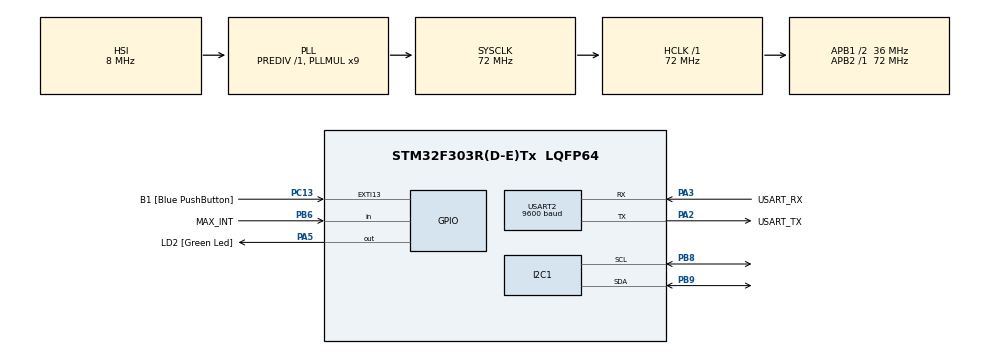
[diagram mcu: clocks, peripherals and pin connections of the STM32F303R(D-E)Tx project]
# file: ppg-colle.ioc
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Mcu.Family=STM32F3
Mcu.Name=STM32F303R(D-E)Tx
Mcu.Package=LQFP64
NVIC.PriorityGroup=NVIC_PRIORITYGROUP_0
PA13.GPIO_Label=TMS
PA13.Mode=Serial_Wire
PA13.Signal=SYS_JTMS-SWDIO
PA14.GPIO_Label=TCK
PA14.Mode=Serial_Wire
PA14.Signal=SYS_JTCK-SWCLK
PA2.GPIO_Label=USART_TX
PA2.GPIO_Mode=GPIO_MODE_AF_PP
PA2.GPIO_PuPd=GPIO_NOPULL
PA2.GPIO_Speed=GPIO_SPEED_FREQ_LOW
PA2.Mode=Asynchronous
PA2.Signal=USART2_TX
PA3.GPIO_Label=USART_RX
PA3.GPIO_Mode=GPIO_MODE_AF_PP
PA3.GPIO_PuPd=GPIO_NOPULL
PA3.GPIO_Speed=GPIO_SPEED_FREQ_LOW
PA3.Mode=Asynchronous
PA3.Signal=USART2_RX
PA5.GPIO_Label=LD2 [Green Led]
PA5.GPIO_Mode=GPIO_MODE_OUTPUT_PP
PA5.GPIO_PuPd=GPIO_NOPULL
PA5.GPIO_Speed=GPIO_SPEED_FREQ_LOW
PA5.Signal=GPIO_Output
PB3.GPIO_Label=SWO
PB3.Signal=SYS_JTDO-TRACESWO
PB6.GPIO_Label=MAX_INT
PB6.GPIO_PuPd=GPIO_PULLUP
PB6.Signal=GPIO_Input
PB8.Mode=I2C
PB8.Signal=I2C1_SCL
PB9.Mode=I2C
PB9.Signal=I2C1_SDA
PC13.GPIO_Label=B1 [Blue PushButton]
PC13.GPIO_ModeDefaultEXTI=GPIO_MODE_IT_FALLING
PC13.Signal=GPXTI13
PC14-OSC32_IN.Mode=LSE-External-Oscillator
PC14-OSC32_IN.Signal=RCC_OSC32_IN
PC15-OSC32_OUT.Mode=LSE-External-Oscillator
PC15-OSC32_OUT.Signal=RCC_OSC32_OUT
PF0-OSC_IN.Mode=HSE-External-Clock-Source
PF0-OSC_IN.Signal=RCC_OSC_IN
PF1-OSC_OUT.Signal=RCC_OSC_OUT
ProjectManager.HeapSize=0x200
ProjectManager.StackSize=0x400
ProjectManager.TargetToolchain=SW4STM32
RCC.AHBFreq_Value=72000000
RCC.APB1CLKDivider=RCC_HCLK_DIV2
RCC.APB1Freq_Value=36000000
RCC.APB1TimFreq_Value=72000000
RCC.APB2Freq_Value=72000000
RCC.APB2TimFreq_Value=72000000
RCC.CortexFreq_Value=72000000
RCC.HCLKFreq_Value=72000000
RCC.HSE_VALUE=8000000
RCC.HSI_VALUE=8000000
RCC.PLLM=8
RCC.PLLMUL=RCC_PLL_MUL9
RCC.PLLN=336
RCC.PLLP=RCC_PLLP_DIV4
RCC.PLLQ=7
RCC.RCC_PLLsource_Clock_Source_FROM_HSE=RCC_HSE_PREDIV_DIV2
RCC.SYSCLKFreq_VALUE=72000000
RCC.SYSCLKSourceVirtual=RCC_SYSCLKSOURCE_PLLCLK
RCC.USBFreq_Value=72000000
USART2.BaudRate=9600
USART2.VirtualMode-Asynchronous=VM_ASYNC
USART2.WordLength=WORDLENGTH_8B
board=NUCLEO-F303RE

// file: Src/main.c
/**
  ******************************************************************************
  * @file           : main.c
  * @brief          : Main program body
  ******************************************************************************
  ** This notice applies to any and all portions of this file
  * that are not between comment pairs USER CODE BEGIN and
  * USER CODE END. Other portions of this file, whether
  * inserted by the user or by software development tools
  * are owned by their respective copyright owners.
  *
  * COPYRIGHT(c) 2018 STMicroelectronics
  *
  * Redistribution and use in source and binary forms, with or without modification,
  * are permitted provided that the following conditions are met:
  *   1. Redistributions of source code must retain the above copyright notice,
  *      this list of conditions and the following disclaimer.
  *   2. Redistributions in binary form must reproduce the above copyright notice,
  *      this list of conditions and the following disclaimer in the documentation
  *      and/or other materials provided with the distribution.
  *   3. Neither the name of STMicroelectronics nor the names of its contributors
  *      may be used to endorse or promote products derived from this software
  *      without specific prior written permission.
  *
  * THIS SOFTWARE IS PROVIDED BY THE COPYRIGHT HOLDERS AND CONTRIBUTORS "AS IS"
  * AND ANY EXPRESS OR IMPLIED WARRANTIES, INCLUDING, BUT NOT LIMITED TO, THE
  * IMPLIED WARRANTIES OF MERCHANTABILITY AND FITNESS FOR A PARTICULAR PURPOSE ARE
  * DISCLAIMED. IN NO EVENT SHALL THE COPYRIGHT HOLDER OR CONTRIBUTORS BE LIABLE
  * FOR ANY DIRECT, INDIRECT, INCIDENTAL, SPECIAL, EXEMPLARY, OR CONSEQUENTIAL
  * DAMAGES (INCLUDING, BUT NOT LIMITED TO, PROCUREMENT OF SUBSTITUTE GOODS OR
  * SERVICES; LOSS OF USE, DATA, OR PROFITS; OR BUSINESS INTERRUPTION) HOWEVER
  * CAUSED AND ON ANY THEORY OF LIABILITY, WHETHER IN CONTRACT, STRICT LIABILITY,
  * OR TORT (INCLUDING NEGLIGENCE OR OTHERWISE) ARISING IN ANY WAY OUT OF THE USE
  * OF THIS SOFTWARE, EVEN IF ADVISED OF THE POSSIBILITY OF SUCH DAMAGE.
  *
  ******************************************************************************
  */
#include "main.h"
#include "stm32f3xx_hal.h"

/* USER CODE BEGIN Includes */
#include <stdio.h>
#include <string.h>
#include <stdarg.h>
#include <stdlib.h>

#include "max30102.h"
/* USER CODE END Includes */

I2C_HandleTypeDef hi2c1;

UART_HandleTypeDef huart2;

/* USER CODE BEGIN PV */
/* Private variables ---------------------------------------------------------*/
MAX30102* dev;
uint32_t red, ir;
/* USER CODE END PV */

void SystemClock_Config(void);
static void MX_GPIO_Init(void);
static void MX_USART2_UART_Init(void);
static void MX_I2C1_Init(void);

/* USER CODE BEGIN PFP */
/* Private function prototypes -----------------------------------------------*/

/* USER CODE END PFP */

/* USER CODE BEGIN 0 */
int print(const char* format, ...) {
	char* iobuf = malloc(sizeof(char) * 128);
	va_list args;
	va_start(args, format);
	int result = vsprintf(iobuf, format, args);
	va_end(args);
	HAL_UART_Transmit(&huart2, (uint8_t*) iobuf, strlen(iobuf), 100);
	free(iobuf);
	return result;
}
/* USER CODE END 0 */

int main(void)
{

  /* MCU Configuration----------------------------------------------------------*/

  /* Reset of all peripherals, Initializes the Flash interface and the Systick. */
  HAL_Init();

  /* Configure the system clock */
  SystemClock_Config();

  /* Initialize all configured peripherals */
  MX_GPIO_Init();
  MX_USART2_UART_Init();
  MX_I2C1_Init();
  /* USER CODE BEGIN 2 */
  dev = MAX30102Init(&hi2c1, MAX_30102_ADDR);
  dev->reset(dev->p);
  dev->clrint(dev->p);
  dev->init(dev->p);

  print("PPGColle v1.0 - Collector\n");

  while (HAL_GPIO_ReadPin(B1_GPIO_Port, B1_Pin) == GPIO_PIN_SET) {
	  while (HAL_GPIO_ReadPin(MAX_INT_GPIO_Port, MAX_INT_Pin) == GPIO_PIN_SET);
	  dev->fifo(dev->p, &red, &ir);
	  print("%d\n", 160000 - ir);
  }
  /* USER CODE END 2 */

  /* Infinite loop */
  /* USER CODE BEGIN WHILE */
  while (1)
  {
	  while (HAL_GPIO_ReadPin(MAX_INT_GPIO_Port, MAX_INT_Pin) == GPIO_PIN_SET);
	  dev->fifo(dev->p, &red, &ir);
	  print("%d, %d\n", red, ir);

	  HAL_GPIO_TogglePin(LD2_GPIO_Port, LD2_Pin);
  /* USER CODE END WHILE */

  }

}

void SystemClock_Config(void)
{

  RCC_OscInitTypeDef RCC_OscInitStruct;
  RCC_ClkInitTypeDef RCC_ClkInitStruct;
  RCC_PeriphCLKInitTypeDef PeriphClkInit;

    /**Initializes the CPU, AHB and APB busses clocks
    */
  RCC_OscInitStruct.OscillatorType = RCC_OSCILLATORTYPE_HSI;
  RCC_OscInitStruct.HSIState = RCC_HSI_ON;
  RCC_OscInitStruct.HSICalibrationValue = 16;
  RCC_OscInitStruct.PLL.PLLState = RCC_PLL_ON;
  RCC_OscInitStruct.PLL.PLLSource = RCC_PLLSOURCE_HSI;
  RCC_OscInitStruct.PLL.PLLMUL = RCC_PLL_MUL9;
  RCC_OscInitStruct.PLL.PREDIV = RCC_PREDIV_DIV1;
  if (HAL_RCC_OscConfig(&RCC_OscInitStruct) != HAL_OK)
  {
    _Error_Handler(__FILE__, __LINE__);
  }

    /**Initializes the CPU, AHB and APB busses clocks
    */
  RCC_ClkInitStruct.ClockType = RCC_CLOCKTYPE_HCLK|RCC_CLOCKTYPE_SYSCLK
                              |RCC_CLOCKTYPE_PCLK1|RCC_CLOCKTYPE_PCLK2;
  RCC_ClkInitStruct.SYSCLKSource = RCC_SYSCLKSOURCE_PLLCLK;
  RCC_ClkInitStruct.AHBCLKDivider = RCC_SYSCLK_DIV1;
  RCC_ClkInitStruct.APB1CLKDivider = RCC_HCLK_DIV2;
  RCC_ClkInitStruct.APB2CLKDivider = RCC_HCLK_DIV1;

  if (HAL_RCC_ClockConfig(&RCC_ClkInitStruct, FLASH_LATENCY_2) != HAL_OK)
  {
    _Error_Handler(__FILE__, __LINE__);
  }

  PeriphClkInit.PeriphClockSelection = RCC_PERIPHCLK_USART2|RCC_PERIPHCLK_I2C1;
  PeriphClkInit.Usart2ClockSelection = RCC_USART2CLKSOURCE_PCLK1;
  PeriphClkInit.I2c1ClockSelection = RCC_I2C1CLKSOURCE_HSI;
  if (HAL_RCCEx_PeriphCLKConfig(&PeriphClkInit) != HAL_OK)
  {
    _Error_Handler(__FILE__, __LINE__);
  }

    /**Configure the Systick interrupt time
    */
  HAL_SYSTICK_Config(HAL_RCC_GetHCLKFreq()/1000);

    /**Configure the Systick
    */
  HAL_SYSTICK_CLKSourceConfig(SYSTICK_CLKSOURCE_HCLK);

  /* SysTick_IRQn interrupt configuration */
  HAL_NVIC_SetPriority(SysTick_IRQn, 0, 0);
}

/* I2C1 init function */
static void MX_I2C1_Init(void)
{

  hi2c1.Instance = I2C1;
  hi2c1.Init.Timing = 0x2000090E;
  hi2c1.Init.OwnAddress1 = 0;
  hi2c1.Init.AddressingMode = I2C_ADDRESSINGMODE_7BIT;
  hi2c1.Init.DualAddressMode = I2C_DUALADDRESS_DISABLE;
  hi2c1.Init.OwnAddress2 = 0;
  hi2c1.Init.OwnAddress2Masks = I2C_OA2_NOMASK;
  hi2c1.Init.GeneralCallMode = I2C_GENERALCALL_DISABLE;
  hi2c1.Init.NoStretchMode = I2C_NOSTRETCH_DISABLE;
  if (HAL_I2C_Init(&hi2c1) != HAL_OK)
  {
    _Error_Handler(__FILE__, __LINE__);
  }

    /**Configure Analogue filter
    */
  if (HAL_I2CEx_ConfigAnalogFilter(&hi2c1, I2C_ANALOGFILTER_ENABLE) != HAL_OK)
  {
    _Error_Handler(__FILE__, __LINE__);
  }

    /**Configure Digital filter
    */
  if (HAL_I2CEx_ConfigDigitalFilter(&hi2c1, 0) != HAL_OK)
  {
    _Error_Handler(__FILE__, __LINE__);
  }

}

/* USART2 init function */
static void MX_USART2_UART_Init(void)
{

  huart2.Instance = USART2;
  huart2.Init.BaudRate = 9600;
  huart2.Init.WordLength = UART_WORDLENGTH_8B;
  huart2.Init.StopBits = UART_STOPBITS_1;
  huart2.Init.Parity = UART_PARITY_NONE;
  huart2.Init.Mode = UART_MODE_TX_RX;
  huart2.Init.HwFlowCtl = UART_HWCONTROL_NONE;
  huart2.Init.OverSampling = UART_OVERSAMPLING_16;
  huart2.Init.OneBitSampling = UART_ONE_BIT_SAMPLE_DISABLE;
  huart2.AdvancedInit.AdvFeatureInit = UART_ADVFEATURE_NO_INIT;
  if (HAL_UART_Init(&huart2) != HAL_OK)
  {
    _Error_Handler(__FILE__, __LINE__);
  }

}

/** Configure pins as
        * Analog
        * Input
        * Output
        * EVENT_OUT
        * EXTI
*/
static void MX_GPIO_Init(void)
{

  GPIO_InitTypeDef GPIO_InitStruct;

  /* GPIO Ports Clock Enable */
  __HAL_RCC_GPIOC_CLK_ENABLE();
  __HAL_RCC_GPIOF_CLK_ENABLE();
  __HAL_RCC_GPIOA_CLK_ENABLE();
  __HAL_RCC_GPIOB_CLK_ENABLE();

  /*Configure GPIO pin Output Level */
  HAL_GPIO_WritePin(LD2_GPIO_Port, LD2_Pin, GPIO_PIN_RESET);

  /*Configure GPIO pin : B1_Pin */
  GPIO_InitStruct.Pin = B1_Pin;
  GPIO_InitStruct.Mode = GPIO_MODE_IT_FALLING;
  GPIO_InitStruct.Pull = GPIO_NOPULL;
  HAL_GPIO_Init(B1_GPIO_Port, &GPIO_InitStruct);

  /*Configure GPIO pin : LD2_Pin */
  GPIO_InitStruct.Pin = LD2_Pin;
  GPIO_InitStruct.Mode = GPIO_MODE_OUTPUT_PP;
  GPIO_InitStruct.Pull = GPIO_NOPULL;
  GPIO_InitStruct.Speed = GPIO_SPEED_FREQ_LOW;
  HAL_GPIO_Init(LD2_GPIO_Port, &GPIO_InitStruct);

  /*Configure GPIO pin : MAX_INT_Pin */
  GPIO_InitStruct.Pin = MAX_INT_Pin;
  GPIO_InitStruct.Mode = GPIO_MODE_INPUT;
  GPIO_InitStruct.Pull = GPIO_PULLUP;
  HAL_GPIO_Init(MAX_INT_GPIO_Port, &GPIO_InitStruct);

}

void _Error_Handler(char *file, int line)
{
  while(1)
  {
  }
}

/************************ (C) COPYRIGHT STMicroelectronics *****END OF FILE****/
